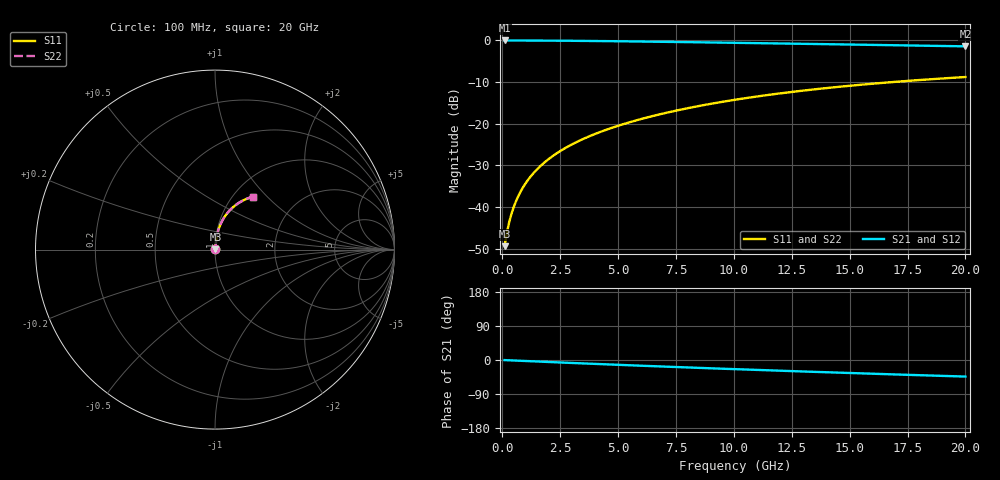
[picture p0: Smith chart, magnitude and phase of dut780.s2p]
! Touchstone file exported from HFSS 2024.1.0
!  File:  C:/UserFiles/LocalFiles/RDL_TSV_Batchsim/temp_RDL_bottom_780_1779861050.aedt
!  Generated:  01:53:11 PM May 27, 2026
!  Design:  RDL_bottom
!  Project:  temp_RDL_bottom_780_1779861050
!  Setup:  Setup1
!  Solution:  Sweep
! Variables:
!  dtsv = 10.80580581um
!  hbump = 3um
!  htsv = 70.74um
!  ldown = 670.54um
!  lrdl = 100um
!  p = 40
!  p1 = 42.71um
!  rhole = 1um
!  t = 450um
!  tdown = 4.87um
!  trdl = 3.915915916um
!  wdown = 19.37um
!  wrdl = 20um
# GHz S MA R 50.000000
! Terminal data exported
! Port[1] = RDL1_T1
! Port[2] = RDL1_T2
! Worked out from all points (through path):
!   200 points, 100 MHz to 20 GHz, reference 50 ohm
!   highest |S21| = -0.02 dB at 100 MHz (marker M1); lowest = -1.4 dB at 20 GHz (marker M2)
!   group delay of S21, straight-line fit = 6.03 ps
!   lowest |S11| = -49.4 dB at 100 MHz (marker M3), VSWR 1.01, Z = 50.3 + j0.208 ohm
!   |S11| at or under -10 dB: start of sweep to 16.89 GHz
!   |S22| runs from -49.4 to -8.8 dB; largest |S21 - S12| = 1.1e-14
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0.1  0.003376 37.8  0.9973 -0.3  0.9973 -0.3  0.003376 37.8
! Gamma 0 0 0 0
! Port Impedance 50 0 50 0
0.2  0.004923 54.9  0.9971 -0.5  0.9971 -0.5  0.004923 54.9
0.3  0.00661 63.1  0.997 -0.8  0.997 -0.8  0.00661 63.1
0.4  0.008332 68.1  0.9968 -1.1  0.9968 -1.1  0.008332 68.1
0.5  0.01008 71.4  0.9966 -1.3  0.9966 -1.3  0.01008 71.4
0.6  0.01185 73.9  0.9965 -1.6  0.9965 -1.6  0.01185 73.9
0.8  0.01544 77.0  0.9962 -2.1  0.9962 -2.1  0.01544 77.0
1.1  0.02089 79.7  0.9956 -2.9  0.9956 -2.9  0.02089 79.7
1.5  0.02825 81.4  0.9945 -4.0  0.9945 -4.0  0.02825 81.4
1.8  0.0338 82.1  0.9936 -4.7  0.9936 -4.7  0.0338 82.1
2.1  0.03936 82.5  0.9924 -5.5  0.9924 -5.5  0.03937 82.5
2.7  0.05055 82.7  0.9898 -7.0  0.9898 -7.0  0.05056 82.8
3.5  0.06559 82.5  0.9855 -9.1  0.9855 -9.1  0.0656 82.5
4.2  0.07888 82.0  0.9812 -10.8  0.9812 -10.8  0.0789 82.1
5  0.09424 81.3  0.9758 -12.7  0.9758 -12.7  0.09427 81.3
6.8  0.1294 78.9  0.9622 -17.0  0.9622 -17.0  0.1295 79.0
8.4  0.161 76.4  0.949 -20.6  0.949 -20.6  0.1611 76.4
10.1  0.1945 73.3  0.9344 -24.3  0.9344 -24.3  0.1946 73.4
11.7  0.2252 70.3  0.9204 -27.7  0.9204 -27.7  0.2254 70.3
13.4  0.2567 66.9  0.9054 -31.2  0.9054 -31.2  0.2569 67.0
16.7  0.3133 60.5  0.8762 -37.6  0.8762 -37.6  0.3135 60.5
20  0.363 54.3  0.8475 -43.7  0.8475 -43.7  0.3634 54.3
